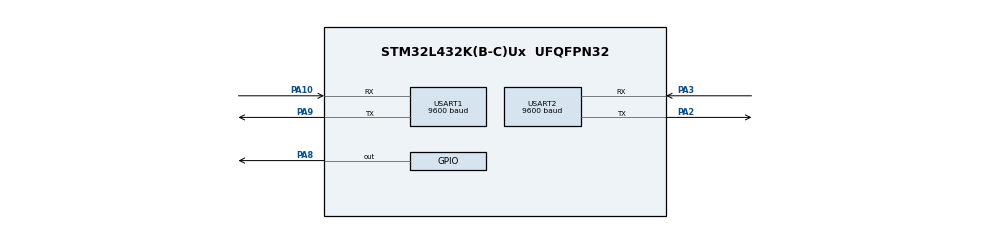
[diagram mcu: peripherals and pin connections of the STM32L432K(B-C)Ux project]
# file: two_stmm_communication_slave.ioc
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Mcu.Family=STM32L4
Mcu.Name=STM32L432K(B-C)Ux
Mcu.Package=UFQFPN32
NVIC.PriorityGroup=NVIC_PRIORITYGROUP_4
NVIC.USART1_IRQn=true\:0\:0\:false\:false\:true\:true\:true\:true
PA10.Mode=Asynchronous
PA10.Signal=USART1_RX
PA2.Mode=Asynchronous
PA2.Signal=USART2_TX
PA3.Mode=Asynchronous
PA3.Signal=USART2_RX
PA8.Signal=GPIO_Output
PA9.Mode=Asynchronous
PA9.Signal=USART1_TX
ProjectManager.HeapSize=0x200
ProjectManager.StackSize=0x400
ProjectManager.TargetToolchain=CMake
RCC.HSE_VALUE=8000000
RCC.HSI48_VALUE=48000000
RCC.HSI_VALUE=16000000
RCC.LSE_VALUE=32768
RCC.MSI_VALUE=4000000
RCC.VCOOutputFreq_Value=32000000
USART1.BaudRate=9600
USART1.VirtualMode-Asynchronous=VM_ASYNC
USART2.BaudRate=9600
USART2.VirtualMode-Asynchronous=VM_ASYNC
board=custom

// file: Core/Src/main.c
/* USER CODE BEGIN Header */
/**
  ******************************************************************************
  * @file           : main.c
  * @brief          : Main program body
  ******************************************************************************
  * @attention
  *
  * Copyright (c) 2026 STMicroelectronics.
  * All rights reserved.
  *
  * This software is licensed under terms that can be found in the LICENSE file
  * in the root directory of this software component.
  * If no LICENSE file comes with this software, it is provided AS-IS.
  *
  ******************************************************************************
  */
/* USER CODE END Header */
#include "main.h"
#include "usart.h"
#include "gpio.h"

/* USER CODE BEGIN Includes */
#include <stdint.h>
#include <stdio.h>
#include <string.h>
/* USER CODE END Includes */

/* USER CODE BEGIN PV */
char msg[30];
uint8_t rxData = 0;
uint8_t txData = 1; // Initial data to transmit
volatile uint8_t dataReadyFlag = 0;

/* USER CODE END PV */

void SystemClock_Config(void);

/* USER CODE BEGIN 0 */
void HAL_UART_RxCpltCallback(UART_HandleTypeDef *huart)
{
  if (huart->Instance == USART1)
  {
    txData = rxData + 3;
    dataReadyFlag = 1;
  }

}

/* USER CODE END 0 */

int main(void)
{

  /* MCU Configuration--------------------------------------------------------*/

  /* Reset of all peripherals, Initializes the Flash interface and the Systick. */
  HAL_Init();

  /* Configure the system clock */
  SystemClock_Config();

  /* Initialize all configured peripherals */
  MX_GPIO_Init();
  MX_USART1_UART_Init();
  MX_USART2_UART_Init();
  /* USER CODE BEGIN 2 */
  HAL_UART_Receive_IT(&huart1, &rxData, 1);

  /* USER CODE END 2 */

  /* Infinite loop */
  /* USER CODE BEGIN WHILE */
  while (1)
  {
    if (dataReadyFlag)
    {
      dataReadyFlag = 0;

      // Print a message via the built-in USART Peripheral (USART2)
      int len = sprintf(msg, "Received Char: %u\r\n", rxData);
      HAL_UART_Transmit(&huart2, (uint8_t*)msg, len, 100);

      // Blink LED to indicate trramission
      HAL_GPIO_WritePin(GPIOA, GPIO_PIN_8, GPIO_PIN_SET);
      HAL_Delay(200);
      HAL_GPIO_WritePin(GPIOA, GPIO_PIN_8, GPIO_PIN_RESET);

      HAL_UART_Transmit_IT(&huart1, &txData, 1);
      HAL_UART_Receive_IT(&huart1, &rxData, 1);

    }
    /* USER CODE END WHILE */

  }
}

void SystemClock_Config(void)
{
  RCC_OscInitTypeDef RCC_OscInitStruct = {0};
  RCC_ClkInitTypeDef RCC_ClkInitStruct = {0};

  /** Configure the main internal regulator output voltage
  */
  if (HAL_PWREx_ControlVoltageScaling(PWR_REGULATOR_VOLTAGE_SCALE1) != HAL_OK)
  {
    Error_Handler();
  }

  /** Initializes the RCC Oscillators according to the specified parameters
  * in the RCC_OscInitTypeDef structure.
  */
  RCC_OscInitStruct.OscillatorType = RCC_OSCILLATORTYPE_MSI;
  RCC_OscInitStruct.MSIState = RCC_MSI_ON;
  RCC_OscInitStruct.MSICalibrationValue = 0;
  RCC_OscInitStruct.MSIClockRange = RCC_MSIRANGE_6;
  RCC_OscInitStruct.PLL.PLLState = RCC_PLL_NONE;
  if (HAL_RCC_OscConfig(&RCC_OscInitStruct) != HAL_OK)
  {
    Error_Handler();
  }

  /** Initializes the CPU, AHB and APB buses clocks
  */
  RCC_ClkInitStruct.ClockType = RCC_CLOCKTYPE_HCLK|RCC_CLOCKTYPE_SYSCLK
                              |RCC_CLOCKTYPE_PCLK1|RCC_CLOCKTYPE_PCLK2;
  RCC_ClkInitStruct.SYSCLKSource = RCC_SYSCLKSOURCE_MSI;
  RCC_ClkInitStruct.AHBCLKDivider = RCC_SYSCLK_DIV1;
  RCC_ClkInitStruct.APB1CLKDivider = RCC_HCLK_DIV1;
  RCC_ClkInitStruct.APB2CLKDivider = RCC_HCLK_DIV1;

  if (HAL_RCC_ClockConfig(&RCC_ClkInitStruct, FLASH_LATENCY_0) != HAL_OK)
  {
    Error_Handler();
  }
}

void Error_Handler(void)
{
  __disable_irq();
  while (1)
  {
  }
}
